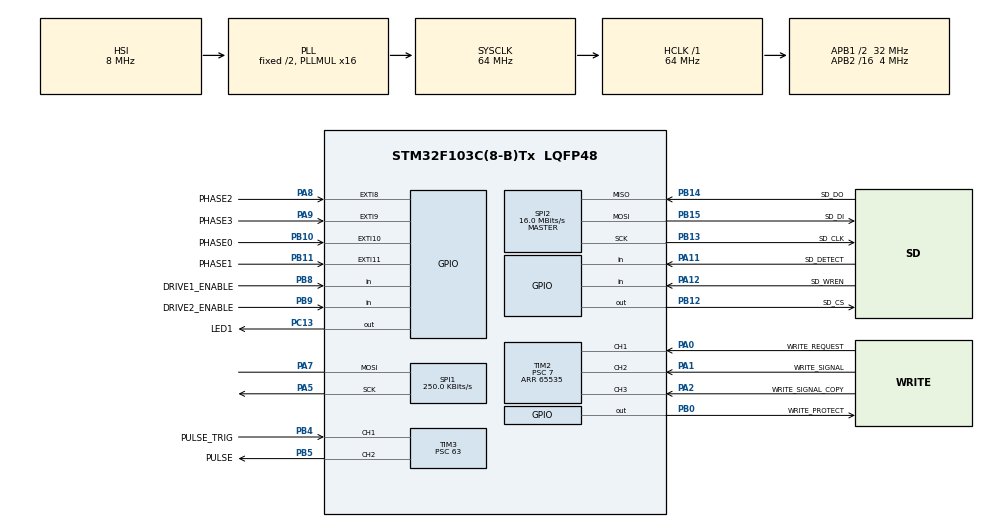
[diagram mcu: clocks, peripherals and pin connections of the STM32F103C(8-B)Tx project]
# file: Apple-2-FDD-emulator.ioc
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Dma.Request0=SPI1_TX
Dma.SPI1_TX.0.Direction=DMA_MEMORY_TO_PERIPH
Dma.SPI1_TX.0.Instance=DMA1_Channel3
Dma.SPI1_TX.0.MemDataAlignment=DMA_MDATAALIGN_BYTE
Dma.SPI1_TX.0.MemInc=DMA_MINC_ENABLE
Dma.SPI1_TX.0.Mode=DMA_NORMAL
Dma.SPI1_TX.0.PeriphDataAlignment=DMA_PDATAALIGN_BYTE
Dma.SPI1_TX.0.PeriphInc=DMA_PINC_DISABLE
Dma.SPI1_TX.0.Priority=DMA_PRIORITY_LOW
FATFS._CODE_PAGE=850
FATFS._FS_LOCK=2
FATFS._FS_MINIMIZE=0
FATFS._FS_NOFSINFO=0
FATFS._FS_NORTC=0
FATFS._FS_READONLY=0
FATFS._FS_REENTRANT=0
FATFS._FS_RPATH=0
FATFS._FS_TIMEOUT=1000
FATFS._FS_TINY=0
FATFS._LFN_UNICODE=0
FATFS._MAX_LFN=255
FATFS._MAX_SS=2048
FATFS._MIN_SS=512
FATFS._MULTI_PARTITION=0
FATFS._STRF_ENCODE=0
FATFS._USE_FASTSEEK=1
FATFS._USE_FIND=1
FATFS._USE_FORWARD=0
FATFS._USE_LABEL=0
FATFS._USE_LFN=1
FATFS._USE_MKFS=1
FATFS._USE_STRFUNC=2
FATFS._USE_TRIM=0
FATFS._VOLUMES=1
FATFS._WORD_ACCESS=0
Mcu.Family=STM32F1
Mcu.Name=STM32F103C(8-B)Tx
Mcu.Package=LQFP48
NVIC.DMA1_Channel3_IRQn=true\:15\:0\:true\:false\:true\:false\:true
NVIC.EXTI15_10_IRQn=true\:15\:0\:true\:false\:true\:true\:true
NVIC.EXTI9_5_IRQn=true\:15\:0\:true\:false\:true\:true\:true
NVIC.PriorityGroup=NVIC_PRIORITYGROUP_4
NVIC.TIM2_IRQn=true\:0\:0\:true\:false\:true\:true\:true
PA0-WKUP.GPIO_Label=WRITE_REQUEST
PA0-WKUP.Signal=S_TIM2_CH1_ETR
PA1.GPIO_Label=WRITE_SIGNAL
PA1.Signal=S_TIM2_CH2
PA11.GPIO_Label=SD_DETECT
PA11.Signal=GPIO_Input
PA12.GPIO_Label=SD_WREN
PA12.Signal=GPIO_Input
PA13.Mode=JTAG_4_pins
PA13.Signal=SYS_JTMS-SWDIO
PA14.Mode=JTAG_4_pins
PA14.Signal=SYS_JTCK-SWCLK
PA15.Mode=JTAG_4_pins
PA15.Signal=SYS_JTDI
PA2.GPIO_Label=WRITE_SIGNAL_COPY
PA2.Signal=S_TIM2_CH3
PA5.Mode=Simplex_Bidirectional_Master
PA5.Signal=SPI1_SCK
PA7.Mode=Simplex_Bidirectional_Master
PA7.Signal=SPI1_MOSI
PA8.GPIO_Label=PHASE2
PA8.GPIO_ModeDefaultEXTI=GPIO_MODE_IT_RISING
PA8.GPIO_PuPd=GPIO_PULLUP
PA8.Signal=GPXTI8
PA9.GPIO_Label=PHASE3
PA9.GPIO_ModeDefaultEXTI=GPIO_MODE_IT_RISING
PA9.GPIO_PuPd=GPIO_PULLUP
PA9.Signal=GPXTI9
PB0.GPIO_Label=WRITE_PROTECT
PB0.Signal=GPIO_Output
PB10.GPIO_Label=PHASE0
PB10.GPIO_ModeDefaultEXTI=GPIO_MODE_IT_RISING
PB10.GPIO_PuPd=GPIO_PULLUP
PB10.Signal=GPXTI10
PB11.GPIO_Label=PHASE1
PB11.GPIO_ModeDefaultEXTI=GPIO_MODE_IT_RISING
PB11.GPIO_PuPd=GPIO_PULLUP
PB11.Signal=GPXTI11
PB12.GPIO_Label=SD_CS
PB12.Signal=GPIO_Output
PB13.GPIO_Label=SD_CLK
PB13.Mode=Full_Duplex_Master
PB13.Signal=SPI2_SCK
PB14.GPIO_Label=SD_DO
PB14.GPIO_PuPd=GPIO_PULLUP
PB14.Mode=Full_Duplex_Master
PB14.Signal=SPI2_MISO
PB15.GPIO_Label=SD_DI
PB15.Mode=Full_Duplex_Master
PB15.Signal=SPI2_MOSI
PB3.Mode=JTAG_4_pins
PB3.Signal=SYS_JTDO-TRACESWO
PB4.GPIO_Label=PULSE_TRIG
PB4.Signal=S_TIM3_CH1
PB5.GPIO_Label=PULSE
PB5.Signal=S_TIM3_CH2
PB8.GPIO_Label=DRIVE1_ENABLE
PB8.Signal=GPIO_Input
PB9.GPIO_Label=DRIVE2_ENABLE
PB9.Signal=GPIO_Input
PC13-TAMPER-RTC.GPIO_Label=LED1
PC13-TAMPER-RTC.GPIO_Speed=GPIO_SPEED_FREQ_HIGH
PC13-TAMPER-RTC.Signal=GPIO_Output
PC14-OSC32_IN.Mode=LSE-External-Oscillator
PC14-OSC32_IN.Signal=RCC_OSC32_IN
PC15-OSC32_OUT.Mode=LSE-External-Oscillator
PC15-OSC32_OUT.Signal=RCC_OSC32_OUT
PD0-OSC_IN.Mode=HSE-External-Oscillator
PD0-OSC_IN.Signal=RCC_OSC_IN
PD1-OSC_OUT.Mode=HSE-External-Oscillator
PD1-OSC_OUT.Signal=RCC_OSC_OUT
ProjectManager.HeapSize=0x200
ProjectManager.StackSize=0x400
ProjectManager.TargetToolchain=Makefile
RCC.AHBFreq_Value=64000000
RCC.APB1CLKDivider=RCC_HCLK_DIV2
RCC.APB1Freq_Value=32000000
RCC.APB1TimFreq_Value=64000000
RCC.APB2CLKDivider=RCC_HCLK_DIV16
RCC.APB2Freq_Value=4000000
RCC.APB2TimFreq_Value=8000000
RCC.HCLKFreq_Value=64000000
RCC.HSEDivPLL=RCC_HSE_PREDIV_DIV2
RCC.PLLMUL=RCC_PLL_MUL16
RCC.SYSCLKFreq_VALUE=64000000
RCC.SYSCLKSource=RCC_SYSCLKSOURCE_PLLCLK
RCC.USBFreq_Value=64000000
SH.S_TIM2_CH1_ETR.0=TIM2_CH1,TriggerSource_TI1FP1
SH.S_TIM2_CH2.0=TIM2_CH2,Input_Capture2_from_TI2
SH.S_TIM2_CH3.0=TIM2_CH3,Input_Capture3_from_TI3
SH.S_TIM3_CH1.0=TIM3_CH1,TriggerSource_TI1FP1
SH.S_TIM3_CH2.0=TIM3_CH2,PWM Generation2 CH2
SPI1.BaudRatePrescaler=SPI_BAUDRATEPRESCALER_16
SPI1.CalculateBaudRate=250.0 KBits/s
SPI1.DataSize=SPI_DATASIZE_8BIT
SPI1.Direction=SPI_DIRECTION_1LINE
SPI1.Mode=SPI_MODE_MASTER
SPI1.VirtualType=VM_MASTER
SPI2.BaudRatePrescaler=SPI_BAUDRATEPRESCALER_2
SPI2.CalculateBaudRate=16.0 MBits/s
SPI2.Direction=SPI_DIRECTION_2LINES
SPI2.Mode=SPI_MODE_MASTER
SPI2.VirtualType=VM_MASTER
TIM1.AutoReloadPreload=TIM_AUTORELOAD_PRELOAD_ENABLE
TIM1.Prescaler=3
TIM2.Channel-Input_Capture2_from_TI2=TIM_CHANNEL_2
TIM2.Channel-Input_Capture3_from_TI3=TIM_CHANNEL_3
TIM2.ICPolarity_CH3=TIM_INPUTCHANNELPOLARITY_FALLING
TIM2.Period=65535
TIM2.Prescaler=7
TIM2.Slave_TriggerPolarity=TIM_TRIGGERPOLARITY_FALLING
TIM3.AutoReloadPreload=TIM_AUTORELOAD_PRELOAD_ENABLE
TIM3.Channel-PWM\ Generation2\ CH2=TIM_CHANNEL_2
TIM3.CounterMode=TIM_COUNTERMODE_DOWN
TIM3.OCPolarity_2=TIM_OCPOLARITY_LOW
TIM3.Period=4
TIM3.Prescaler=63
TIM3.Pulse-PWM\ Generation2\ CH2=3
TIM3.Slave_TriggerPolarity=TIM_TRIGGERPOLARITY_FALLING
TIM3.TIM_MasterOutputTrigger=TIM_TRGO_RESET
VP_FATFS_VS_Generic.Mode=User_defined
VP_TIM1_VS_ClockSourceINT.Mode=Internal
VP_TIM2_VS_ControllerModeReset.Mode=Reset Mode
VP_TIM3_VS_ClockSourceINT.Mode=Internal
VP_TIM3_VS_ControllerModeReset.Mode=Reset Mode
board=NUCLEO-F103RB

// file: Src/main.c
/* USER CODE BEGIN Header */
/**
  ******************************************************************************
  * @file           : main.c
  * @brief          : Main program body
  ******************************************************************************
  * @attention
  *
  * <h2><center>&copy; Copyright (c) 2019 STMicroelectronics.
  * All rights reserved.</center></h2>
  *
  * This software component is licensed by ST under Ultimate Liberty license
  * SLA0044, the "License"; You may not use this file except in compliance with
  * the License. You may obtain a copy of the License at:
  *                             www.st.com/SLA0044
  *
  ******************************************************************************
  */
/* USER CODE END Header */

#include "main.h"
#include "fatfs.h"

/* USER CODE BEGIN Includes */

#include "dsk2nic.h"
#include <string.h>
#include <stdlib.h>
/* USER CODE END Includes */

/* USER CODE BEGIN PD */
#define _Error_Handler(x,y)
#define NIC_SECTOR_SIZE 512
#define DSK_SECTOR_SIZE 256
#define SECTORS_COUNT 16
#define TRUE  1
#define FALSE 0
#define BB(START) ((uint32_t *)(SRAM_BB_BASE + ((uint32_t)START * 32U)))
/* USER CODE END PD */

SPI_HandleTypeDef hspi1;
SPI_HandleTypeDef hspi2;
DMA_HandleTypeDef hdma_spi1_tx;

TIM_HandleTypeDef htim1;
TIM_HandleTypeDef htim2;
TIM_HandleTypeDef htim3;

/* USER CODE BEGIN PV */
/* Private variables ---------------------------------------------------------*/
FATFS fs;
FATFS *pfs;
FIL fil;
uint8_t nicBuf[NIC_SECTOR_SIZE];
uint8_t dskBuf[DSK_SECTOR_SIZE+2];

uint16_t writeBuf[2][128];
uint8_t currentBuf = 0;
uint8_t convertComplete = 0;
uint16_t writeBuf2[512], writeBuf3[512];
uint8_t writeBuf4[512];
int16_t *writeBufPtr;
int16_t *writeBufEndPtr;
uint32_t *bb_ptr;
//= BB(writeBuf4);

volatile uint8_t track = 0;
volatile uint8_t sector = 0;

uint8_t bootloader = FALSE;
//uint8_t bootloader = TRUE;
UINT readed;
/* USER CODE END PV */

void SystemClock_Config(void);
static void MX_GPIO_Init(void);
static void MX_DMA_Init(void);
static void MX_SPI2_Init(void);
static void MX_SPI1_Init(void);
static void MX_TIM3_Init(void);
static void MX_TIM1_Init(void);
static void MX_TIM2_Init(void);
/* USER CODE BEGIN PFP */
/* Private function prototypes -----------------------------------------------*/

FRESULT scan_files (uint8_t* buf)
{
    FRESULT res;
    DIR dir;
    static FILINFO fno;

		uint8_t *count;

		count = buf;
		buf++;

    res = f_opendir(&dir, "/");                            /* Open the directory */

    if (res == FR_OK) {
			res = f_findfirst(&dir, &fno, "/", "*.dsk");  /* Start to search for photo files */
			while (res == FR_OK && fno.fname[0]) {
				if (!(fno.fattrib & AM_DIR)) {                 /* It is a file. */
					if (fno.lfsize){
						memcpy(buf, fno.lfname, fno.lfsize);
						buf += fno.lfsize;
					} else {
						uint8_t len = strlen(fno.fname);
						memcpy(buf, fno.fname, len);
						buf += len;
					}
					*(buf++) = 0;
					*count += 1;
				}
        res = f_findnext(&dir, &fno);
			}
			f_closedir(&dir);
    }

    return res;
}

void get_sector(void){
	if (bootloader){
		if (dsk_scramble[sector] < 4) {
			// load bootloader from progmem
			f_lseek(&fil, ((DSK_SECTOR_SIZE * SECTORS_COUNT * track) + (DSK_SECTOR_SIZE * dsk_scramble[sector])));
			f_read(&fil, dskBuf, DSK_SECTOR_SIZE, &readed);
		} else {
			// generate sector with filenames
			memset(dskBuf, 0, sizeof(dskBuf));
			scan_files (dskBuf);
		}
	} else {
		f_lseek(&fil, ((DSK_SECTOR_SIZE * SECTORS_COUNT * track) + (DSK_SECTOR_SIZE * dsk_scramble[sector])));
		f_read(&fil, dskBuf, DSK_SECTOR_SIZE, &readed);
	}
}

void HAL_SPI_TxCpltCallback(SPI_HandleTypeDef *hspi)
{
	sector = (sector >= 15)?0:sector+1;
  /* Prevent unused argument(s) compilation warning */
  UNUSED(hspi);
}

void HAL_GPIO_EXTI_Callback(uint16_t GPIO_Pin)
{
	switch (GPIO_Pin){
	case PHASE0_Pin:
		if (lastPhase == PHASE1){
			if (track > 0){
				track--;
			}
		} else if (lastPhase == PHASE3) {
			if (track < 34){
				track++;
			}
		}
		lastPhase = PHASE0;
		break;
	case PHASE1_Pin:
		lastPhase = PHASE1;
		break;
	case PHASE2_Pin:
		if (lastPhase == PHASE3){
			if (track > 0){
				track--;
			}
		} else if (lastPhase == PHASE1) {
			if (track < 34){
				track++;
			}
		}
		lastPhase = PHASE2;
		break;
	case PHASE3_Pin:
		lastPhase = PHASE3;
		break;
	}
}

void convert(void){
	uint16_t i = 0;
	int16_t interval;
	int16_t prew = writeBuf[!currentBuf][127];
	int16_t current = writeBuf[currentBuf][0];

	interval = current - prew;

	for (i = 1; i < 128; i++){
		writeBuf2[i-1] = interval;
		if (interval > 80){
			*bb_ptr = 0; writeBuf3[i] = 3;
			bb_ptr++;
			*bb_ptr = 0;
			bb_ptr++;
			*bb_ptr = 1;
			bb_ptr++;
		} else if (interval > 50){
			*bb_ptr = 0; writeBuf3[i] = 2;
			bb_ptr++;
			*bb_ptr = 1;
			bb_ptr++;
		} else {
			*bb_ptr = 1; writeBuf3[i] = 1;
			bb_ptr++;
		}

		prew = current;
		current = writeBuf[currentBuf][i];
		interval = current - prew;
	}

	convertComplete = 1;
}

void init_write_buf(void){
			currentBuf = 0;
			writeBufPtr = writeBuf[0];
			writeBufEndPtr = writeBufPtr + 128;
			writeBuf[1][127] = 0;
			bb_ptr = BB(writeBuf4);
			convertComplete = 0;
}

/* USER CODE END PFP */

int main(void)
{
  /* USER CODE BEGIN 1 */
	uint16_t i;
	uint8_t oldTrack = !track;
	uint8_t oldSector = !sector;
	GPIO_PinState oldDRIVE1_ENABLE;
	FRESULT res;
  /* USER CODE END 1 */

  /* MCU Configuration--------------------------------------------------------*/

  /* Reset of all peripherals, Initializes the Flash interface and the Systick. */
  HAL_Init();

  /* Configure the system clock */
  SystemClock_Config();

  /* Initialize all configured peripherals */
  MX_GPIO_Init();
  MX_DMA_Init();
  MX_FATFS_Init();
  MX_SPI2_Init();
  MX_SPI1_Init();
  MX_TIM3_Init();
  MX_TIM1_Init();
  MX_TIM2_Init();
  /* USER CODE BEGIN 2 */

	for (i = 0; i < 255; i++)
		writeBuf4[i] = i;

	writeBuf4[6] = 0xd5;
	writeBuf4[7] = 0xaa;
	writeBuf4[8] = 0xad;

	// Найти метку
	uint8_t sync[3] = {0xd5, 0xaa, 0xad};
	uint32_t* dst = BB(&writeBuf4[30]); // искать синхру первые 10 байт

	uint8_t sync_flag = 1;

	uint32_t* src = BB(writeBuf4);
	uint32_t* sync_ptr = BB(sync);
	for (; src < dst; src++){
		sync_flag = 1;
		for (i = 0; i < 24; i++)
			if (src[i] != sync_ptr[i]){
				sync_flag = 0;
				break;
			}
		if (sync_flag)
			break;
	}

	if (sync_flag){

		// отрезать синхру
		dst = BB(writeBuf4);
		uint16_t count = (512)*8 - (src - dst);
		for (; count; count--){
			*dst = *src;
			dst++;
			src++;
		}
	} else {
		// Ошибка, синхропоследовательность не найдена.

	}

	// 1us pulse generator
  HAL_TIM_Base_Start(&htim3);
	HAL_TIM_PWM_Start(&htim3, TIM_CHANNEL_2);

	// Write capture
	init_write_buf();
	//HAL_TIM_IC_Start_IT(&htim2, TIM_CHANNEL_1);
	HAL_TIM_IC_Start_IT(&htim2, TIM_CHANNEL_2);
	HAL_TIM_IC_Start_IT(&htim2, TIM_CHANNEL_3);

	oldDRIVE1_ENABLE = GPIO_PIN_SET;//HAL_GPIO_ReadPin(DRIVE_ENABLE_GPIO_Port, DRIVE_ENABLE_Pin);

	/* Mount SD Card */
  if(f_mount(&fs, "", 0) != FR_OK){
		// SHOW MESSAGE ON APPLE 2
    _Error_Handler(__FILE__, __LINE__);
	}

	if (bootloader){
		if((res = f_open(&fil, "BOOT.DSK", FA_READ)) != FR_OK){
			// SHOW MESSAGE ON APPLE 2
			_Error_Handler(__FILE__, __LINE__);
		}
	} else {
		if((res = f_open(&fil, "DOS33.DSK", FA_READ)) != FR_OK){
			// SHOW MESSAGE ON APPLE 2
			_Error_Handler(__FILE__, __LINE__);
		}
	}
  /* USER CODE END 2 */

  /* Infinite loop */
  while (1)
  {

    /* USER CODE BEGIN 3 */

		// reinit buf after disable write_request
		if (HAL_GPIO_ReadPin(WRITE_REQUEST_GPIO_Port, WRITE_REQUEST_Pin) && convertComplete){

			for (i = 0; i < 512; i++) {
				writeBuf4[i] = ((writeBuf4[i] * 0x0802LU & 0x22110LU) | (writeBuf4[i] * 0x8020LU & 0x88440LU)) * 0x10101LU >> 16;
			}

			// Найти метку
			uint8_t sync[3] = {0xd5, 0xaa, 0xad};
			uint32_t* dst = BB(&writeBuf4[30]); // искать синхру первые 10 байт

			uint8_t sync_flag = 1;

			uint32_t* src = BB(writeBuf4);
			uint32_t* sync_ptr = BB(sync);
			for (; src < dst; src++){
				sync_flag = 1;
				for (i = 0; i < 24; i++)
					if (src[i] != sync_ptr[i]){
						sync_flag = 0;
						break;
					}
				if (sync_flag)
					break;
			}

			if (sync_flag){

				// отрезать синхру
				dst = BB(writeBuf4);
				uint16_t count = (512)*8 - (src - dst);
				for (; count; count--){
					*dst = *src;
					dst++;
					src++;
				}
			} else {
				// Ошибка, синхропоследовательность не найдена.

			}
			init_write_buf();
		}

		if (HAL_GPIO_ReadPin(DRIVE1_ENABLE_GPIO_Port, DRIVE1_ENABLE_Pin) != oldDRIVE1_ENABLE){
			if (oldDRIVE1_ENABLE){
				// run spi
				HAL_SPI_Transmit_DMA(&hspi1, nicBuf, sizeof(nicBuf));
			} else {
				// stop spi
				HAL_SPI_DMAStop(&hspi1);
			}
			oldDRIVE1_ENABLE = !oldDRIVE1_ENABLE;
		}

		if (oldTrack != track){
			memset(nicBuf, 0x00, NIC_SECTOR_SIZE);
			oldSector = !sector;
			oldTrack = track;
		}

		if (oldSector != sector){
			HAL_SPI_DMAStop(&hspi1);
			oldSector = sector;
			get_sector();
			dsk2nic(dskBuf, nicBuf, track, sector);
			HAL_SPI_Transmit_DMA(&hspi1, nicBuf, sizeof(nicBuf));
		}
  }

  /* Close file */
  if(f_close(&fil) != FR_OK)
    _Error_Handler(__FILE__, __LINE__);

  /* Unmount SDCARD */
  if(f_mount(NULL, "", 1) != FR_OK)
    _Error_Handler(__FILE__, __LINE__);

  /* USER CODE END 3 */
}

void SystemClock_Config(void)
{
  RCC_OscInitTypeDef RCC_OscInitStruct = {0};
  RCC_ClkInitTypeDef RCC_ClkInitStruct = {0};

  /** Initializes the CPU, AHB and APB busses clocks
  */
  RCC_OscInitStruct.OscillatorType = RCC_OSCILLATORTYPE_HSI;
  RCC_OscInitStruct.HSIState = RCC_HSI_ON;
  RCC_OscInitStruct.HSICalibrationValue = RCC_HSICALIBRATION_DEFAULT;
  RCC_OscInitStruct.PLL.PLLState = RCC_PLL_ON;
  RCC_OscInitStruct.PLL.PLLSource = RCC_PLLSOURCE_HSI_DIV2;
  RCC_OscInitStruct.PLL.PLLMUL = RCC_PLL_MUL16;
  if (HAL_RCC_OscConfig(&RCC_OscInitStruct) != HAL_OK)
  {
    Error_Handler();
  }
  /** Initializes the CPU, AHB and APB busses clocks
  */
  RCC_ClkInitStruct.ClockType = RCC_CLOCKTYPE_HCLK|RCC_CLOCKTYPE_SYSCLK
                              |RCC_CLOCKTYPE_PCLK1|RCC_CLOCKTYPE_PCLK2;
  RCC_ClkInitStruct.SYSCLKSource = RCC_SYSCLKSOURCE_PLLCLK;
  RCC_ClkInitStruct.AHBCLKDivider = RCC_SYSCLK_DIV1;
  RCC_ClkInitStruct.APB1CLKDivider = RCC_HCLK_DIV2;
  RCC_ClkInitStruct.APB2CLKDivider = RCC_HCLK_DIV16;

  if (HAL_RCC_ClockConfig(&RCC_ClkInitStruct, FLASH_LATENCY_2) != HAL_OK)
  {
    Error_Handler();
  }
}

static void MX_SPI1_Init(void)
{

  /* SPI1 parameter configuration*/
  hspi1.Instance = SPI1;
  hspi1.Init.Mode = SPI_MODE_MASTER;
  hspi1.Init.Direction = SPI_DIRECTION_1LINE;
  hspi1.Init.DataSize = SPI_DATASIZE_8BIT;
  hspi1.Init.CLKPolarity = SPI_POLARITY_LOW;
  hspi1.Init.CLKPhase = SPI_PHASE_1EDGE;
  hspi1.Init.NSS = SPI_NSS_SOFT;
  hspi1.Init.BaudRatePrescaler = SPI_BAUDRATEPRESCALER_16;
  hspi1.Init.FirstBit = SPI_FIRSTBIT_MSB;
  hspi1.Init.TIMode = SPI_TIMODE_DISABLE;
  hspi1.Init.CRCCalculation = SPI_CRCCALCULATION_DISABLE;
  hspi1.Init.CRCPolynomial = 10;
  if (HAL_SPI_Init(&hspi1) != HAL_OK)
  {
    Error_Handler();
  }

}

static void MX_SPI2_Init(void)
{

  /* SPI2 parameter configuration*/
  hspi2.Instance = SPI2;
  hspi2.Init.Mode = SPI_MODE_MASTER;
  hspi2.Init.Direction = SPI_DIRECTION_2LINES;
  hspi2.Init.DataSize = SPI_DATASIZE_8BIT;
  hspi2.Init.CLKPolarity = SPI_POLARITY_LOW;
  hspi2.Init.CLKPhase = SPI_PHASE_1EDGE;
  hspi2.Init.NSS = SPI_NSS_SOFT;
  hspi2.Init.BaudRatePrescaler = SPI_BAUDRATEPRESCALER_2;
  hspi2.Init.FirstBit = SPI_FIRSTBIT_MSB;
  hspi2.Init.TIMode = SPI_TIMODE_DISABLE;
  hspi2.Init.CRCCalculation = SPI_CRCCALCULATION_DISABLE;
  hspi2.Init.CRCPolynomial = 10;
  if (HAL_SPI_Init(&hspi2) != HAL_OK)
  {
    Error_Handler();
  }

}

static void MX_TIM1_Init(void)
{

  TIM_ClockConfigTypeDef sClockSourceConfig = {0};
  TIM_MasterConfigTypeDef sMasterConfig = {0};

  htim1.Instance = TIM1;
  htim1.Init.Prescaler = 3;
  htim1.Init.CounterMode = TIM_COUNTERMODE_UP;
  htim1.Init.Period = 0;
  htim1.Init.ClockDivision = TIM_CLOCKDIVISION_DIV1;
  htim1.Init.RepetitionCounter = 0;
  htim1.Init.AutoReloadPreload = TIM_AUTORELOAD_PRELOAD_ENABLE;
  if (HAL_TIM_Base_Init(&htim1) != HAL_OK)
  {
    Error_Handler();
  }
  sClockSourceConfig.ClockSource = TIM_CLOCKSOURCE_INTERNAL;
  if (HAL_TIM_ConfigClockSource(&htim1, &sClockSourceConfig) != HAL_OK)
  {
    Error_Handler();
  }
  sMasterConfig.MasterOutputTrigger = TIM_TRGO_RESET;
  sMasterConfig.MasterSlaveMode = TIM_MASTERSLAVEMODE_DISABLE;
  if (HAL_TIMEx_MasterConfigSynchronization(&htim1, &sMasterConfig) != HAL_OK)
  {
    Error_Handler();
  }

}

static void MX_TIM2_Init(void)
{

  TIM_SlaveConfigTypeDef sSlaveConfig = {0};
  TIM_MasterConfigTypeDef sMasterConfig = {0};
  TIM_IC_InitTypeDef sConfigIC = {0};

  htim2.Instance = TIM2;
  htim2.Init.Prescaler = 7;
  htim2.Init.CounterMode = TIM_COUNTERMODE_UP;
  htim2.Init.Period = 65535;
  htim2.Init.ClockDivision = TIM_CLOCKDIVISION_DIV1;
  htim2.Init.AutoReloadPreload = TIM_AUTORELOAD_PRELOAD_DISABLE;
  if (HAL_TIM_Base_Init(&htim2) != HAL_OK)
  {
    Error_Handler();
  }
  if (HAL_TIM_IC_Init(&htim2) != HAL_OK)
  {
    Error_Handler();
  }
  sSlaveConfig.SlaveMode = TIM_SLAVEMODE_RESET;
  sSlaveConfig.InputTrigger = TIM_TS_TI1FP1;
  sSlaveConfig.TriggerPolarity = TIM_TRIGGERPOLARITY_FALLING;
  sSlaveConfig.TriggerFilter = 0;
  if (HAL_TIM_SlaveConfigSynchronization(&htim2, &sSlaveConfig) != HAL_OK)
  {
    Error_Handler();
  }
  sMasterConfig.MasterOutputTrigger = TIM_TRGO_RESET;
  sMasterConfig.MasterSlaveMode = TIM_MASTERSLAVEMODE_DISABLE;
  if (HAL_TIMEx_MasterConfigSynchronization(&htim2, &sMasterConfig) != HAL_OK)
  {
    Error_Handler();
  }
  sConfigIC.ICPolarity = TIM_INPUTCHANNELPOLARITY_RISING;
  sConfigIC.ICSelection = TIM_ICSELECTION_DIRECTTI;
  sConfigIC.ICPrescaler = TIM_ICPSC_DIV1;
  sConfigIC.ICFilter = 0;
  if (HAL_TIM_IC_ConfigChannel(&htim2, &sConfigIC, TIM_CHANNEL_2) != HAL_OK)
  {
    Error_Handler();
  }
  sConfigIC.ICPolarity = TIM_INPUTCHANNELPOLARITY_FALLING;
  if (HAL_TIM_IC_ConfigChannel(&htim2, &sConfigIC, TIM_CHANNEL_3) != HAL_OK)
  {
    Error_Handler();
  }

}

static void MX_TIM3_Init(void)
{

  TIM_ClockConfigTypeDef sClockSourceConfig = {0};
  TIM_SlaveConfigTypeDef sSlaveConfig = {0};
  TIM_MasterConfigTypeDef sMasterConfig = {0};
  TIM_OC_InitTypeDef sConfigOC = {0};

  htim3.Instance = TIM3;
  htim3.Init.Prescaler = 63;
  htim3.Init.CounterMode = TIM_COUNTERMODE_DOWN;
  htim3.Init.Period = 4;
  htim3.Init.ClockDivision = TIM_CLOCKDIVISION_DIV1;
  htim3.Init.AutoReloadPreload = TIM_AUTORELOAD_PRELOAD_ENABLE;
  if (HAL_TIM_Base_Init(&htim3) != HAL_OK)
  {
    Error_Handler();
  }
  sClockSourceConfig.ClockSource = TIM_CLOCKSOURCE_INTERNAL;
  if (HAL_TIM_ConfigClockSource(&htim3, &sClockSourceConfig) != HAL_OK)
  {
    Error_Handler();
  }
  if (HAL_TIM_PWM_Init(&htim3) != HAL_OK)
  {
    Error_Handler();
  }
  sSlaveConfig.SlaveMode = TIM_SLAVEMODE_RESET;
  sSlaveConfig.InputTrigger = TIM_TS_TI1FP1;
  sSlaveConfig.TriggerPolarity = TIM_TRIGGERPOLARITY_FALLING;
  sSlaveConfig.TriggerFilter = 0;
  if (HAL_TIM_SlaveConfigSynchronization(&htim3, &sSlaveConfig) != HAL_OK)
  {
    Error_Handler();
  }
  sMasterConfig.MasterOutputTrigger = TIM_TRGO_RESET;
  sMasterConfig.MasterSlaveMode = TIM_MASTERSLAVEMODE_DISABLE;
  if (HAL_TIMEx_MasterConfigSynchronization(&htim3, &sMasterConfig) != HAL_OK)
  {
    Error_Handler();
  }
  sConfigOC.OCMode = TIM_OCMODE_PWM1;
  sConfigOC.Pulse = 3;
  sConfigOC.OCPolarity = TIM_OCPOLARITY_LOW;
  sConfigOC.OCFastMode = TIM_OCFAST_DISABLE;
  if (HAL_TIM_PWM_ConfigChannel(&htim3, &sConfigOC, TIM_CHANNEL_2) != HAL_OK)
  {
    Error_Handler();
  }
  HAL_TIM_MspPostInit(&htim3);

}

static void MX_DMA_Init(void)
{
  /* DMA controller clock enable */
  __HAL_RCC_DMA1_CLK_ENABLE();

  /* DMA interrupt init */
  /* DMA1_Channel3_IRQn interrupt configuration */
  HAL_NVIC_SetPriority(DMA1_Channel3_IRQn, 15, 0);
  HAL_NVIC_EnableIRQ(DMA1_Channel3_IRQn);

}

static void MX_GPIO_Init(void)
{
  GPIO_InitTypeDef GPIO_InitStruct = {0};

  /* GPIO Ports Clock Enable */
  __HAL_RCC_GPIOC_CLK_ENABLE();
  __HAL_RCC_GPIOD_CLK_ENABLE();
  __HAL_RCC_GPIOA_CLK_ENABLE();
  __HAL_RCC_GPIOB_CLK_ENABLE();

  /*Configure GPIO pin Output Level */
  HAL_GPIO_WritePin(LED1_GPIO_Port, LED1_Pin, GPIO_PIN_RESET);

  /*Configure GPIO pin Output Level */
  HAL_GPIO_WritePin(GPIOB, WRITE_PROTECT_Pin|SD_CS_Pin, GPIO_PIN_RESET);

  /*Configure GPIO pin : LED1_Pin */
  GPIO_InitStruct.Pin = LED1_Pin;
  GPIO_InitStruct.Mode = GPIO_MODE_OUTPUT_PP;
  GPIO_InitStruct.Pull = GPIO_NOPULL;
  GPIO_InitStruct.Speed = GPIO_SPEED_FREQ_HIGH;
  HAL_GPIO_Init(LED1_GPIO_Port, &GPIO_InitStruct);

  /*Configure GPIO pins : PA3 PA4 PA6 PA10 */
  GPIO_InitStruct.Pin = GPIO_PIN_3|GPIO_PIN_4|GPIO_PIN_6|GPIO_PIN_10;
  GPIO_InitStruct.Mode = GPIO_MODE_ANALOG;
  HAL_GPIO_Init(GPIOA, &GPIO_InitStruct);

  /*Configure GPIO pins : WRITE_PROTECT_Pin SD_CS_Pin */
  GPIO_InitStruct.Pin = WRITE_PROTECT_Pin|SD_CS_Pin;
  GPIO_InitStruct.Mode = GPIO_MODE_OUTPUT_PP;
  GPIO_InitStruct.Pull = GPIO_NOPULL;
  GPIO_InitStruct.Speed = GPIO_SPEED_FREQ_LOW;
  HAL_GPIO_Init(GPIOB, &GPIO_InitStruct);

  /*Configure GPIO pins : PB1 PB2 PB6 PB7 */
  GPIO_InitStruct.Pin = GPIO_PIN_1|GPIO_PIN_2|GPIO_PIN_6|GPIO_PIN_7;
  GPIO_InitStruct.Mode = GPIO_MODE_ANALOG;
  HAL_GPIO_Init(GPIOB, &GPIO_InitStruct);

  /*Configure GPIO pins : PHASE0_Pin PHASE1_Pin */
  GPIO_InitStruct.Pin = PHASE0_Pin|PHASE1_Pin;
  GPIO_InitStruct.Mode = GPIO_MODE_IT_RISING;
  GPIO_InitStruct.Pull = GPIO_PULLUP;
  HAL_GPIO_Init(GPIOB, &GPIO_InitStruct);

  /*Configure GPIO pins : PHASE2_Pin PHASE3_Pin */
  GPIO_InitStruct.Pin = PHASE2_Pin|PHASE3_Pin;
  GPIO_InitStruct.Mode = GPIO_MODE_IT_RISING;
  GPIO_InitStruct.Pull = GPIO_PULLUP;
  HAL_GPIO_Init(GPIOA, &GPIO_InitStruct);

  /*Configure GPIO pins : SD_DETECT_Pin SD_WREN_Pin */
  GPIO_InitStruct.Pin = SD_DETECT_Pin|SD_WREN_Pin;
  GPIO_InitStruct.Mode = GPIO_MODE_INPUT;
  GPIO_InitStruct.Pull = GPIO_NOPULL;
  HAL_GPIO_Init(GPIOA, &GPIO_InitStruct);

  /*Configure GPIO pins : DRIVE1_ENABLE_Pin DRIVE2_ENABLE_Pin */
  GPIO_InitStruct.Pin = DRIVE1_ENABLE_Pin|DRIVE2_ENABLE_Pin;
  GPIO_InitStruct.Mode = GPIO_MODE_INPUT;
  GPIO_InitStruct.Pull = GPIO_NOPULL;
  HAL_GPIO_Init(GPIOB, &GPIO_InitStruct);

  /* EXTI interrupt init*/
  HAL_NVIC_SetPriority(EXTI9_5_IRQn, 15, 0);
  HAL_NVIC_EnableIRQ(EXTI9_5_IRQn);

  HAL_NVIC_SetPriority(EXTI15_10_IRQn, 15, 0);
  HAL_NVIC_EnableIRQ(EXTI15_10_IRQn);

}

void Error_Handler(void)
{
  while(1)
  {
  }
}

/************************ (C) COPYRIGHT STMicroelectronics *****END OF FILE****/
